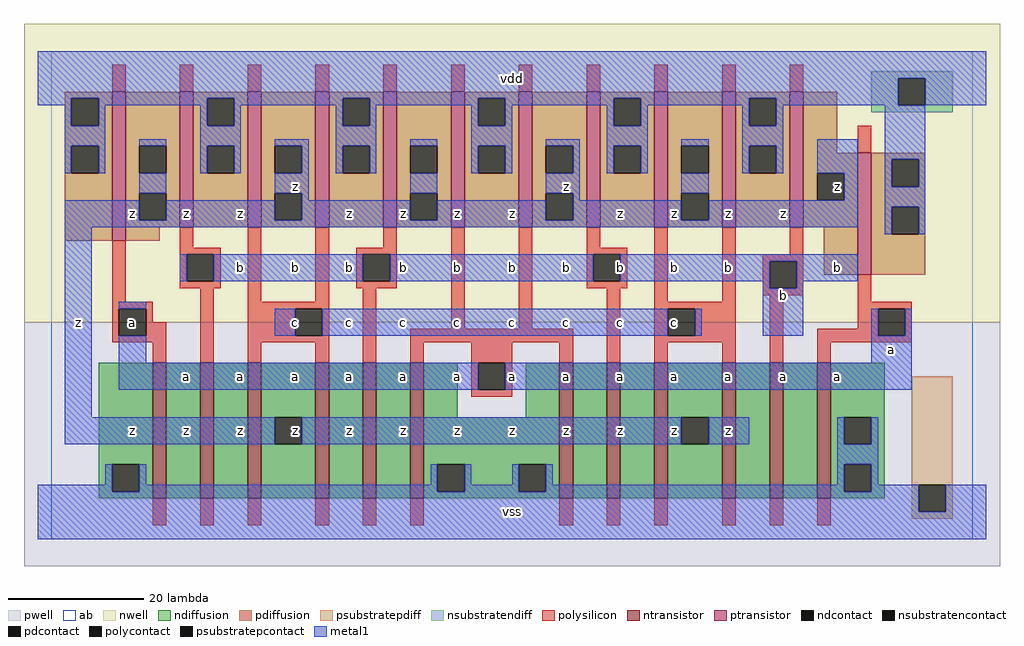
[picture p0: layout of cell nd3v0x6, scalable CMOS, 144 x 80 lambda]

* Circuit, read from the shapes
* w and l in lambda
.subckt nd3v0x6 a b c vdd vss z
M1 n1 a vss vss nfet w=20 l=2
M2 n2 b n1 vss nfet w=20 l=2
M3 z c n2 vss nfet w=20 l=2
M4 n3 c z vss nfet w=20 l=2
M5 n4 b n3 vss nfet w=20 l=2
M6 vss a n4 vss nfet w=20 l=2
M7 n5 a vss vss nfet w=20 l=2
M8 n6 b n5 vss nfet w=20 l=2
M9 z c n6 vss nfet w=20 l=2
M10 n7 c z vss nfet w=20 l=2
M11 n8 b n7 vss nfet w=20 l=2
M12 vss a n8 vss nfet w=20 l=2
M13 z a vdd vdd pfet w=22 l=2
M14 vdd b z vdd pfet w=20 l=2 m=4
M15 z c vdd vdd pfet w=20 l=2 m=4
M16 vdd a z vdd pfet w=20 l=2 m=2
M17 vdd a z vdd pfet w=18 l=2
.ends

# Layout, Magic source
magic
tech scmos
<< ab >>
rect 0 0 136 72
<< pwell >>
rect -4 -4 140 32
<< nwell >>
rect -4 32 140 76
<< polysilicon >>
rect 9 66 11 70
rect 19 66 21 70
rect 29 66 31 70
rect 39 66 41 70
rect 49 66 51 70
rect 59 66 61 70
rect 69 66 71 70
rect 79 66 81 70
rect 89 66 91 70
rect 99 66 101 70
rect 109 66 111 70
rect 119 57 121 61
rect 9 35 11 44
rect 19 43 21 46
rect 19 42 25 43
rect 19 38 20 42
rect 24 38 25 42
rect 19 37 25 38
rect 9 34 15 35
rect 9 30 10 34
rect 14 32 15 34
rect 14 30 17 32
rect 9 29 17 30
rect 15 26 17 29
rect 22 26 24 37
rect 29 35 31 46
rect 39 35 41 46
rect 49 43 51 46
rect 45 42 51 43
rect 45 38 46 42
rect 50 38 51 42
rect 45 37 51 38
rect 29 34 41 35
rect 29 30 36 34
rect 40 30 41 34
rect 29 29 41 30
rect 29 26 31 29
rect 39 26 41 29
rect 46 26 48 37
rect 59 31 61 46
rect 69 31 71 46
rect 79 43 81 46
rect 79 42 85 43
rect 79 38 80 42
rect 84 38 85 42
rect 79 37 85 38
rect 53 29 77 31
rect 53 26 55 29
rect 62 26 68 29
rect 75 26 77 29
rect 82 26 84 37
rect 89 35 91 46
rect 99 35 101 46
rect 109 42 111 46
rect 105 41 111 42
rect 105 37 106 41
rect 110 37 111 41
rect 105 36 111 37
rect 89 34 101 35
rect 89 30 91 34
rect 95 30 101 34
rect 89 29 101 30
rect 89 26 91 29
rect 99 26 101 29
rect 106 26 108 36
rect 119 35 121 39
rect 119 34 127 35
rect 119 31 122 34
rect 113 30 122 31
rect 126 30 127 34
rect 113 29 127 30
rect 113 26 115 29
rect 62 22 63 26
rect 67 22 68 26
rect 62 21 68 22
rect 15 2 17 6
rect 22 2 24 6
rect 29 2 31 6
rect 39 2 41 6
rect 46 2 48 6
rect 53 2 55 6
rect 75 2 77 6
rect 82 2 84 6
rect 89 2 91 6
rect 99 2 101 6
rect 106 2 108 6
rect 113 2 115 6
<< ndiffusion >>
rect 7 11 15 26
rect 7 7 9 11
rect 13 7 15 11
rect 7 6 15 7
rect 17 6 22 26
rect 24 6 29 26
rect 31 18 39 26
rect 31 14 33 18
rect 37 14 39 18
rect 31 6 39 14
rect 41 6 46 26
rect 48 6 53 26
rect 55 18 60 26
rect 70 18 75 26
rect 55 11 75 18
rect 55 7 57 11
rect 61 7 69 11
rect 73 7 75 11
rect 55 6 75 7
rect 77 6 82 26
rect 84 6 89 26
rect 91 18 99 26
rect 91 14 93 18
rect 97 14 99 18
rect 91 6 99 14
rect 101 6 106 26
rect 108 6 113 26
rect 115 18 123 26
rect 115 14 117 18
rect 121 14 123 18
rect 115 11 123 14
rect 115 7 117 11
rect 121 7 123 11
rect 115 6 123 7
<< pdiffusion >>
rect 2 65 9 66
rect 2 61 3 65
rect 7 61 9 65
rect 2 58 9 61
rect 2 54 3 58
rect 7 54 9 58
rect 2 44 9 54
rect 11 58 19 66
rect 11 54 13 58
rect 17 54 19 58
rect 11 51 19 54
rect 11 47 13 51
rect 17 47 19 51
rect 11 46 19 47
rect 21 65 29 66
rect 21 61 23 65
rect 27 61 29 65
rect 21 58 29 61
rect 21 54 23 58
rect 27 54 29 58
rect 21 46 29 54
rect 31 58 39 66
rect 31 54 33 58
rect 37 54 39 58
rect 31 51 39 54
rect 31 47 33 51
rect 37 47 39 51
rect 31 46 39 47
rect 41 65 49 66
rect 41 61 43 65
rect 47 61 49 65
rect 41 58 49 61
rect 41 54 43 58
rect 47 54 49 58
rect 41 46 49 54
rect 51 58 59 66
rect 51 54 53 58
rect 57 54 59 58
rect 51 51 59 54
rect 51 47 53 51
rect 57 47 59 51
rect 51 46 59 47
rect 61 65 69 66
rect 61 61 63 65
rect 67 61 69 65
rect 61 58 69 61
rect 61 54 63 58
rect 67 54 69 58
rect 61 46 69 54
rect 71 58 79 66
rect 71 54 73 58
rect 77 54 79 58
rect 71 51 79 54
rect 71 47 73 51
rect 77 47 79 51
rect 71 46 79 47
rect 81 65 89 66
rect 81 61 83 65
rect 87 61 89 65
rect 81 58 89 61
rect 81 54 83 58
rect 87 54 89 58
rect 81 46 89 54
rect 91 58 99 66
rect 91 54 93 58
rect 97 54 99 58
rect 91 51 99 54
rect 91 47 93 51
rect 97 47 99 51
rect 91 46 99 47
rect 101 65 109 66
rect 101 61 103 65
rect 107 61 109 65
rect 101 58 109 61
rect 101 54 103 58
rect 107 54 109 58
rect 101 46 109 54
rect 111 57 116 66
rect 111 54 119 57
rect 111 50 113 54
rect 117 50 119 54
rect 111 46 119 50
rect 11 44 16 46
rect 114 39 119 46
rect 121 56 129 57
rect 121 52 124 56
rect 128 52 129 56
rect 121 49 129 52
rect 121 45 124 49
rect 128 45 129 49
rect 121 39 129 45
<< metal1 >>
rect -2 68 138 72
rect -2 65 125 68
rect -2 64 3 65
rect 2 61 3 64
rect 7 64 23 65
rect 7 61 8 64
rect 2 58 8 61
rect 22 61 23 64
rect 27 64 43 65
rect 27 61 28 64
rect 2 54 3 58
rect 7 54 8 58
rect 13 58 17 59
rect 22 58 28 61
rect 42 61 43 64
rect 47 64 63 65
rect 47 61 48 64
rect 22 54 23 58
rect 27 54 28 58
rect 33 58 38 59
rect 37 54 38 58
rect 42 58 48 61
rect 62 61 63 64
rect 67 64 83 65
rect 67 61 68 64
rect 42 54 43 58
rect 47 54 48 58
rect 53 58 57 59
rect 62 58 68 61
rect 82 61 83 64
rect 87 64 103 65
rect 87 61 88 64
rect 62 54 63 58
rect 67 54 68 58
rect 73 58 78 59
rect 77 54 78 58
rect 82 58 88 61
rect 102 61 103 64
rect 107 64 125 65
rect 129 64 138 68
rect 107 61 108 64
rect 82 54 83 58
rect 87 54 88 58
rect 93 58 97 59
rect 102 58 108 61
rect 102 54 103 58
rect 107 54 108 58
rect 113 54 119 59
rect 13 51 17 54
rect 2 47 13 50
rect 33 51 38 54
rect 17 47 33 50
rect 37 50 38 51
rect 53 51 57 54
rect 37 47 53 50
rect 73 51 78 54
rect 57 47 73 50
rect 77 50 78 51
rect 93 51 97 54
rect 77 47 93 50
rect 117 50 119 54
rect 97 47 119 50
rect 2 46 119 47
rect 123 56 129 64
rect 123 52 124 56
rect 128 52 129 56
rect 123 49 129 52
rect 2 18 6 46
rect 123 45 124 49
rect 128 45 129 49
rect 19 38 20 42
rect 24 38 46 42
rect 50 38 80 42
rect 84 41 119 42
rect 84 38 106 41
rect 105 37 106 38
rect 110 38 119 41
rect 110 37 111 38
rect 10 34 14 35
rect 33 30 36 34
rect 40 30 91 34
rect 95 30 96 34
rect 105 30 111 37
rect 121 30 122 34
rect 126 30 127 34
rect 10 26 14 30
rect 121 26 127 30
rect 10 22 63 26
rect 67 22 127 26
rect 2 14 33 18
rect 37 14 93 18
rect 97 14 103 18
rect 116 14 117 18
rect 121 14 122 18
rect 116 11 122 14
rect 8 8 9 11
rect -2 7 9 8
rect 13 8 14 11
rect 56 8 57 11
rect 13 7 57 8
rect 61 8 62 11
rect 68 8 69 11
rect 61 7 69 8
rect 73 8 74 11
rect 116 8 117 11
rect 73 7 117 8
rect 121 8 122 11
rect 121 7 128 8
rect -2 4 128 7
rect 132 4 138 8
rect -2 0 138 4
<< ntransistor >>
rect 15 6 17 26
rect 22 6 24 26
rect 29 6 31 26
rect 39 6 41 26
rect 46 6 48 26
rect 53 6 55 26
rect 75 6 77 26
rect 82 6 84 26
rect 89 6 91 26
rect 99 6 101 26
rect 106 6 108 26
rect 113 6 115 26
<< ptransistor >>
rect 9 44 11 66
rect 19 46 21 66
rect 29 46 31 66
rect 39 46 41 66
rect 49 46 51 66
rect 59 46 61 66
rect 69 46 71 66
rect 79 46 81 66
rect 89 46 91 66
rect 99 46 101 66
rect 109 46 111 66
rect 119 39 121 57
<< polycontact >>
rect 20 38 24 42
rect 10 30 14 34
rect 46 38 50 42
rect 36 30 40 34
rect 80 38 84 42
rect 106 37 110 41
rect 91 30 95 34
rect 122 30 126 34
rect 63 22 67 26
<< ndcontact >>
rect 9 7 13 11
rect 33 14 37 18
rect 57 7 61 11
rect 69 7 73 11
rect 93 14 97 18
rect 117 14 121 18
rect 117 7 121 11
<< pdcontact >>
rect 3 61 7 65
rect 3 54 7 58
rect 13 54 17 58
rect 13 47 17 51
rect 23 61 27 65
rect 23 54 27 58
rect 33 54 37 58
rect 33 47 37 51
rect 43 61 47 65
rect 43 54 47 58
rect 53 54 57 58
rect 53 47 57 51
rect 63 61 67 65
rect 63 54 67 58
rect 73 54 77 58
rect 73 47 77 51
rect 83 61 87 65
rect 83 54 87 58
rect 93 54 97 58
rect 93 47 97 51
rect 103 61 107 65
rect 103 54 107 58
rect 113 50 117 54
rect 124 52 128 56
rect 124 45 128 49
<< psubstratepcontact >>
rect 128 4 132 8
<< nsubstratencontact >>
rect 125 64 129 68
<< psubstratepdiff >>
rect 127 8 133 24
rect 127 4 128 8
rect 132 4 133 8
rect 127 3 133 4
<< nsubstratendiff >>
rect 121 68 133 69
rect 121 64 125 68
rect 129 64 133 68
rect 121 63 133 64
<< labels >>
rlabel metal1 12 16 12 16 6 z
rlabel metal1 4 32 4 32 6 z
rlabel polycontact 12 32 12 32 6 a
rlabel metal1 12 48 12 48 6 z
rlabel metal1 20 16 20 16 6 z
rlabel metal1 28 16 28 16 6 z
rlabel ndcontact 36 16 36 16 6 z
rlabel metal1 28 24 28 24 6 a
rlabel metal1 36 24 36 24 6 a
rlabel metal1 20 24 20 24 6 a
rlabel metal1 36 32 36 32 6 c
rlabel metal1 28 40 28 40 6 b
rlabel metal1 36 40 36 40 6 b
rlabel metal1 28 48 28 48 6 z
rlabel metal1 36 52 36 52 6 z
rlabel metal1 20 48 20 48 6 z
rlabel metal1 44 16 44 16 6 z
rlabel metal1 52 16 52 16 6 z
rlabel metal1 60 16 60 16 6 z
rlabel metal1 52 24 52 24 6 a
rlabel metal1 60 24 60 24 6 a
rlabel metal1 44 24 44 24 6 a
rlabel metal1 44 32 44 32 6 c
rlabel metal1 52 32 52 32 6 c
rlabel metal1 60 32 60 32 6 c
rlabel metal1 52 40 52 40 6 b
rlabel metal1 60 40 60 40 6 b
rlabel metal1 44 40 44 40 6 b
rlabel metal1 52 48 52 48 6 z
rlabel metal1 60 48 60 48 6 z
rlabel metal1 44 48 44 48 6 z
rlabel metal1 68 4 68 4 6 vss
rlabel metal1 68 16 68 16 6 z
rlabel metal1 76 16 76 16 6 z
rlabel metal1 84 16 84 16 6 z
rlabel metal1 76 24 76 24 6 a
rlabel metal1 84 24 84 24 6 a
rlabel metal1 68 24 68 24 6 a
rlabel metal1 68 32 68 32 6 c
rlabel metal1 76 32 76 32 6 c
rlabel metal1 84 32 84 32 6 c
rlabel metal1 76 40 76 40 6 b
rlabel metal1 84 40 84 40 6 b
rlabel metal1 68 40 68 40 6 b
rlabel metal1 76 52 76 52 6 z
rlabel metal1 84 48 84 48 6 z
rlabel metal1 68 48 68 48 6 z
rlabel metal1 68 68 68 68 6 vdd
rlabel metal1 92 16 92 16 6 z
rlabel metal1 100 16 100 16 6 z
rlabel metal1 100 24 100 24 6 a
rlabel metal1 108 24 108 24 6 a
rlabel metal1 92 24 92 24 6 a
rlabel polycontact 92 32 92 32 6 c
rlabel metal1 100 40 100 40 6 b
rlabel metal1 108 36 108 36 6 b
rlabel metal1 92 40 92 40 6 b
rlabel metal1 100 48 100 48 6 z
rlabel metal1 108 48 108 48 6 z
rlabel metal1 92 48 92 48 6 z
rlabel metal1 124 28 124 28 6 a
rlabel metal1 116 24 116 24 6 a
rlabel metal1 116 40 116 40 6 b
rlabel pdcontact 116 52 116 52 6 z
<< end >>
